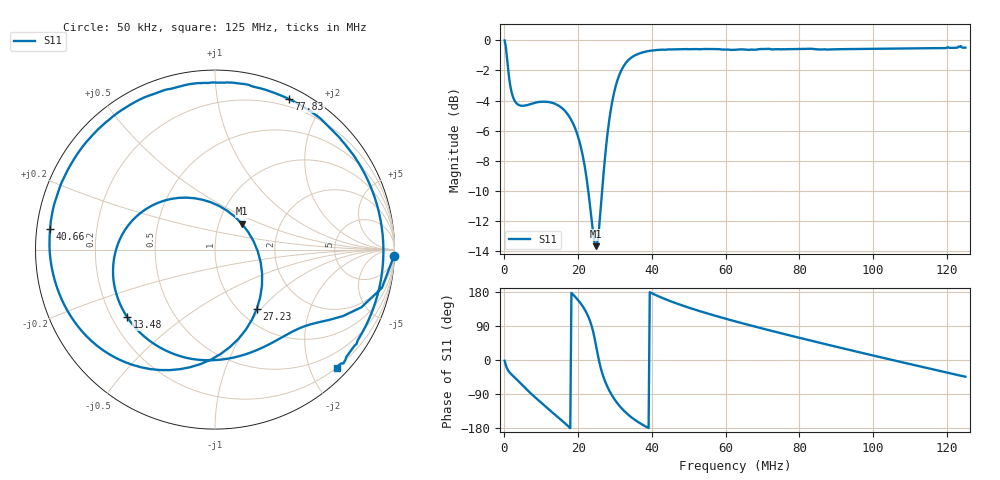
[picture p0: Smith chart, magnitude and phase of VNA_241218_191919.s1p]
!File created by NanoVNA
# Hz S RI R 50
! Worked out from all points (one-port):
!   401 points, 50 kHz to 125 MHz, reference 50 ohm
!   lowest |S11| = -13.6 dB at 24.73 MHz (marker M1), VSWR 1.52, Z = 64.3 + j19.4 ohm
!   |S11| at or under -10 dB: 22.74 MHz to 26.49 MHz (3.743 MHz wide, 15.2 % of centre)
!   S11 on the Smith chart (normalised r, x): 50 kHz: 3, -60; 13.48 MHz: 0.26, -0.32; 27.23 MHz: 1.20, -0.95; 40.66 MHz: 0.04, +0.06; 77.83 MHz: 0.12, +1.60; 125 MHz: 0.20, -2.46
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50000  0.9979 -0.0333
1299500  0.634 -0.3923
2549000  0.4594 -0.4432
6609875  0.0732 -0.6074
9733625  -0.2212 -0.5846
1.348212e7  -0.4891 -0.3769
1.566875e7  -0.5613 -0.1981
1.87925e7  -0.5174 0.0827
2.160388e7  -0.2823 0.2731
2.316575e7  -0.0695 0.2779
2.472762e7  0.1496 0.1442
2.597712e7  0.2547 -0.0714
2.722662e7  0.2333 -0.329
2.910088e7  -0.0234 -0.6131
3.12875e7  -0.4115 -0.6558
3.316175e7  -0.6581 -0.5349
3.534838e7  -0.8245 -0.3368
4.065875e7  -0.9193 0.1128
4.690625e7  -0.7951 0.488
5.440325e7  -0.5324 0.7691
6.2525e7  -0.1957 0.9088
7.033438e7  0.1278 0.9262
7.783138e7  0.4136 0.8381
7.814375e7  0.4246 0.8327
9.37625e7  0.8396 0.4114
1.015719e8  0.9276 0.134
1.093812e8  0.9268 -0.154
1.25e8  0.6788 -0.6576
